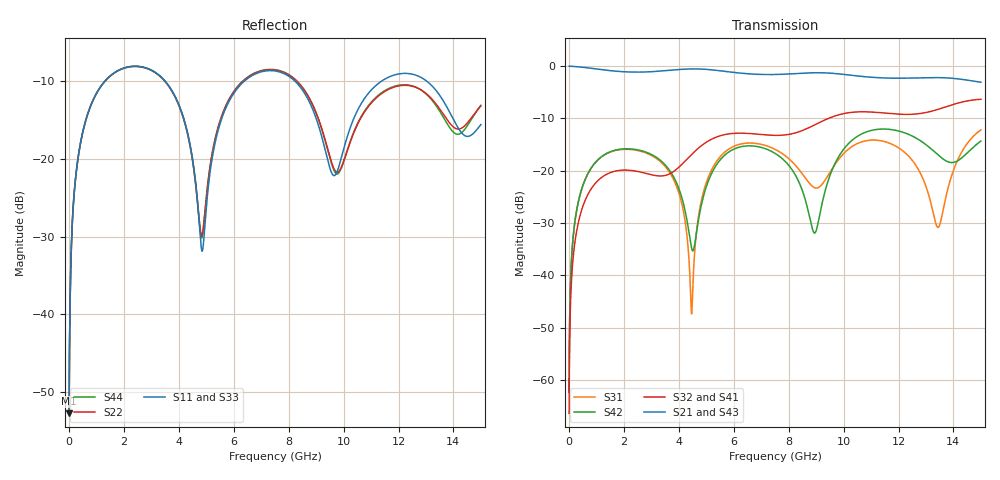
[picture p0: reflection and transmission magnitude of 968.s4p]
! Created with skrf 1.8.0 (http://scikit-rf.org).
# GHz S RI R 50.0
!freq ReS11 ImS11 ReS12 ImS12 ReS13 ImS13
! ReS14 ImS14
! ReS21 ImS21 ReS22 ImS22 ReS23 ImS23
! ReS24 ImS24
! ReS31 ImS31 ReS32 ImS32 ReS33 ImS33
! ReS34 ImS34
! ReS41 ImS41 ReS42 ImS42 ReS43 ImS43
! ReS44 ImS44
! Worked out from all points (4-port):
!   2499 points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, 5 MHz to 15 GHz, reference 50 ohm
!   strongest paths, dB at 5 MHz, 3.476 GHz, 7.19 GHz, 11.1 GHz, 15 GHz:
!     S21: 0.0, -0.9, -1.6, -2.2, -3.1
!     S43: 0.0, -0.9, -1.6, -2.2, -3.1
!     S32: -66.4, -20.9, -13.2, -8.8, -6.3
!     S41: -66.4, -21.0, -13.3, -8.9, -6.4
!     S42: -62.3, -18.7, -15.9, -12.2, -14.3
!     S31: -62.3, -19.0, -15.2, -14.1, -12.2
!   lowest |S11| = -52.7 dB at 5 MHz (marker M1), VSWR 1.00, Z = 50.2 + j0.141 ohm
!   |S11| at or under -10 dB: 3.487 GHz to 6.407 GHz (2.92 GHz wide, 59 % of centre); 8.209 GHz to 11.41 GHz (3.201 GHz wide, 32.6 % of centre); 13 GHz to end of sweep (the widest 3 of 4)
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0.005  0.00185 0.0014  0.9981 -0.0036  9.44e-05 0.000758  -9.16e-05 -0.000472
       0.9981 -0.0036  0.00185 0.0014  -9.16e-05 -0.000472  9.45e-05 0.000758
       9.44e-05 0.000758  -9.16e-05 -0.000472  0.00185 0.0014  0.9981 -0.0036
       -9.16e-05 -0.000472  9.45e-05 0.000758  0.9981 -0.0036  0.00185 0.0014
0.3126303  0.0296 0.0912  0.9595 -0.2229  0.014 0.0443  -0.0117 -0.0271
           0.9595 -0.2229  0.0295 0.0912  -0.0117 -0.0271  0.0143 0.0443
           0.014 0.0443  -0.0117 -0.0271  0.0296 0.0912  0.9595 -0.2229
           -0.0117 -0.0271  0.0143 0.0443  0.9595 -0.2229  0.0295 0.0912
1.369321  0.2695 0.1769  0.5511 -0.7273  0.1297 0.0658  -0.092 -0.00661
          0.5511 -0.7273  0.2684 0.1777  -0.0922 -0.00636  0.1325 0.062
          0.1297 0.0658  -0.0922 -0.00636  0.2694 0.1771  0.5511 -0.7273
          -0.092 -0.00661  0.1325 0.062  0.5511 -0.7273  0.2686 0.1776
4.46436  0.0485 -0.0978  -0.8883 -0.3064  0.00428 0.000277  -0.0441 0.136
         -0.8883 -0.3064  0.0539 -0.0923  -0.0403 0.1372  -0.0164 -0.00789
         0.00428 0.000277  -0.0403 0.1372  0.0493 -0.0972  -0.8883 -0.3064
         -0.0441 0.136  -0.0164 -0.00789  -0.8883 -0.3064  0.0527 -0.0924
5.63985  0.1281 0.1494  -0.7984 0.3997  0.1174 0.09  0.1248 0.1809
         -0.7984 0.3997  0.1363 0.1503  0.1299 0.1782  0.0977 0.098
         0.1174 0.09  0.1299 0.1782  0.1281 0.1489  -0.7984 0.3997
         0.1248 0.1809  0.0977 0.098  -0.7984 0.3997  0.1364 0.1515
9.766569  0.0808 0.0174  0.8398 0.0969  -0.0318 0.1189  0.0384 -0.337
          0.8398 0.0969  0.081 -0.00996  0.0217 -0.3382  0.0309 0.1249
          -0.0318 0.1189  0.0217 -0.3382  0.0841 0.0141  0.8397 0.0979
          0.0384 -0.337  0.0309 0.1249  0.8397 0.0979  0.0792 -0.00914
15  0.1645 0.0165  -0.7018 0.0129  0.1019 0.2234  0.0268 0.4802
    -0.7018 0.0129  0.2093 0.0592  0.0607 0.4781  0.0227 0.1907
    0.1019 0.2234  0.0607 0.4781  0.1626 0.0104  -0.7017 0.0128
    0.0268 0.4802  0.0227 0.1907  -0.7017 0.0128  0.2074 0.0724
